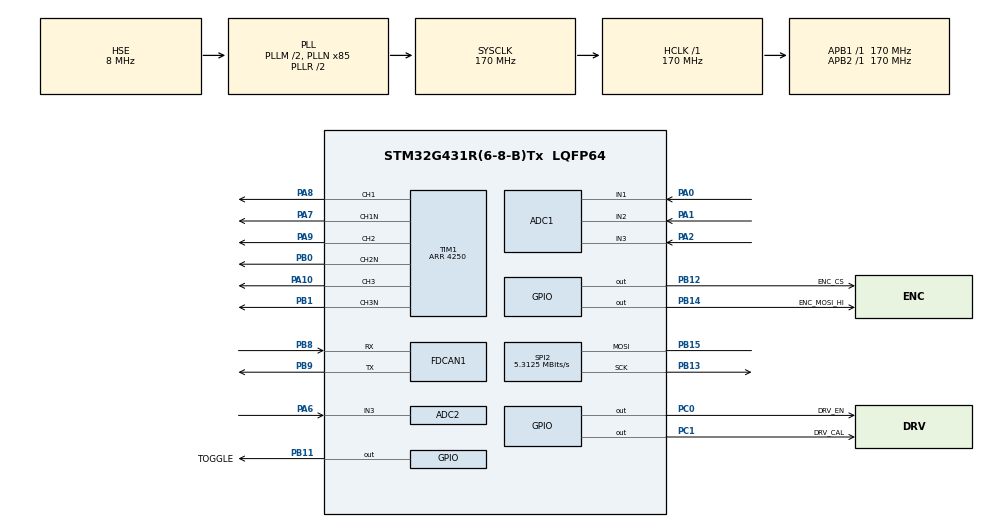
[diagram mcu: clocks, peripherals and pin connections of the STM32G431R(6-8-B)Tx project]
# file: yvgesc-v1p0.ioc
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ADC1.Channel-0\#ChannelRegularConversion=ADC_CHANNEL_VREFINT
ADC1.ClockPrescaler=ADC_CLOCK_SYNC_PCLK_DIV4
ADC1.EOCSelection=ADC_EOC_SEQ_CONV
ADC1.EnableInjectedConversion=ENABLE
ADC1.ExternalTrigInjecConv=ADC_EXTERNALTRIGINJEC_T1_TRGO2
ADC1.ExternalTrigInjecConvEdge=ADC_EXTERNALTRIGINJECCONV_EDGE_FALLING
ADC1.InjNumberOfConversion=3
ADC1.InjectedChannel-10\#ChannelInjectedConversion=ADC_CHANNEL_3
ADC1.InjectedChannel-8\#ChannelInjectedConversion=ADC_CHANNEL_1
ADC1.InjectedChannel-9\#ChannelInjectedConversion=ADC_CHANNEL_2
ADC1.InjectedOffsetNumber-10\#ChannelInjectedConversion=ADC_OFFSET_NONE
ADC1.InjectedOffsetNumber-8\#ChannelInjectedConversion=ADC_OFFSET_NONE
ADC1.InjectedOffsetNumber-9\#ChannelInjectedConversion=ADC_OFFSET_NONE
ADC1.InjectedRank-10\#ChannelInjectedConversion=3
ADC1.InjectedRank-8\#ChannelInjectedConversion=1
ADC1.InjectedRank-9\#ChannelInjectedConversion=2
ADC1.InjectedSamplingTime-10\#ChannelInjectedConversion=ADC_SAMPLETIME_24CYCLES_5
ADC1.InjectedSamplingTime-8\#ChannelInjectedConversion=ADC_SAMPLETIME_24CYCLES_5
ADC1.InjectedSamplingTime-9\#ChannelInjectedConversion=ADC_SAMPLETIME_24CYCLES_5
ADC1.NbrOfConversion=1
ADC1.NbrOfConversionFlag=1
ADC1.OffsetNumber-0\#ChannelRegularConversion=ADC_OFFSET_NONE
ADC1.Overrun=ADC_OVR_DATA_OVERWRITTEN
ADC1.Rank-0\#ChannelRegularConversion=1
ADC1.Rank1_Channel=ADC_CHANNEL_1
ADC1.Rank2_Channel=ADC_CHANNEL_2
ADC1.Rank3_Channel=ADC_CHANNEL_3
ADC1.Rank4_Channel=ADC_CHANNEL_VREFINT
ADC1.SamplingTime-0\#ChannelRegularConversion=ADC_SAMPLETIME_247CYCLES_5
ADC1.master=1
ADC2.Channel-0\#ChannelRegularConversion=ADC_CHANNEL_3
ADC2.ClockPrescaler=ADC_CLOCK_SYNC_PCLK_DIV4
ADC2.NbrOfConversionFlag=1
ADC2.OffsetNumber-0\#ChannelRegularConversion=ADC_OFFSET_NONE
ADC2.Overrun=ADC_OVR_DATA_OVERWRITTEN
ADC2.Rank-0\#ChannelRegularConversion=1
ADC2.SamplingTime-0\#ChannelRegularConversion=ADC_SAMPLETIME_247CYCLES_5
FDCAN1.AutoRetransmission=ENABLE
FDCAN1.CalculateBaudRateNominal=500000
FDCAN1.CalculateTimeBitNominal=2000
FDCAN1.CalculateTimeQuantumNominal=125.0
FDCAN1.Mode=FDCAN_MODE_INTERNAL_LOOPBACK
FDCAN1.NominalPrescaler=1
FDCAN1.NominalSyncJumpWidth=2
FDCAN1.NominalTimeSeg1=13
FDCAN1.NominalTimeSeg2=2
FDCAN1.StdFiltersNbr=1
Mcu.Family=STM32G4
Mcu.Name=STM32G431R(6-8-B)Tx
Mcu.Package=LQFP64
NVIC.ADC1_2_IRQn=true\:0\:0\:false\:false\:true\:true\:true\:true
NVIC.PriorityGroup=NVIC_PRIORITYGROUP_4
PA0.Mode=IN1-Single-Ended
PA0.Signal=ADC1_IN1
PA1.Mode=IN2-Single-Ended
PA1.Signal=ADC1_IN2
PA10.Signal=S_TIM1_CH3
PA13.Mode=Serial_Wire
PA13.Signal=SYS_JTMS-SWDIO
PA14.Mode=Serial_Wire
PA14.Signal=SYS_JTCK-SWCLK
PA2.Mode=IN3-Single-Ended
PA2.Signal=ADC1_IN3
PA6.Mode=IN3-Single-Ended
PA6.Signal=ADC2_IN3
PA7.Mode=PWM Generation1 CH1 CH1N
PA7.Signal=TIM1_CH1N
PA8.Signal=S_TIM1_CH1
PA9.Signal=S_TIM1_CH2
PB0.Mode=PWM Generation2 CH2 CH2N
PB0.Signal=TIM1_CH2N
PB1.Mode=PWM Generation3 CH3 CH3N
PB1.Signal=TIM1_CH3N
PB11.GPIO_Label=TOGGLE
PB11.Signal=GPIO_Output
PB12.GPIO_Label=ENC_CS
PB12.PinState=GPIO_PIN_SET
PB12.Signal=GPIO_Output
PB13.Mode=Simplex_Bidirectional_Master
PB13.Signal=SPI2_SCK
PB14.GPIO_Label=ENC_MOSI_HI
PB14.PinState=GPIO_PIN_SET
PB14.Signal=GPIO_Output
PB15.Mode=Simplex_Bidirectional_Master
PB15.Signal=SPI2_MOSI
PB8-BOOT0.Mode=FDCAN_Activate
PB8-BOOT0.Signal=FDCAN1_RX
PB9.Mode=FDCAN_Activate
PB9.Signal=FDCAN1_TX
PC0.GPIO_Label=DRV_EN
PC0.Signal=GPIO_Output
PC1.GPIO_Label=DRV_CAL
PC1.Signal=GPIO_Output
PF0-OSC_IN.Mode=HSE-External-Oscillator
PF0-OSC_IN.Signal=RCC_OSC_IN
PF1-OSC_OUT.Mode=HSE-External-Oscillator
PF1-OSC_OUT.Signal=RCC_OSC_OUT
ProjectManager.HeapSize=0x200
ProjectManager.StackSize=0x400
ProjectManager.TargetToolchain=CMake
RCC.ADC12Freq_Value=170000000
RCC.AHBFreq_Value=170000000
RCC.APB1Freq_Value=170000000
RCC.APB1TimFreq_Value=170000000
RCC.APB2Freq_Value=170000000
RCC.APB2TimFreq_Value=170000000
RCC.CortexFreq_Value=170000000
RCC.EXTERNAL_CLOCK_VALUE=12288000
RCC.FDCANCLockSelection=RCC_FDCANCLKSOURCE_HSE
RCC.HCLKFreq_Value=170000000
RCC.HSE_VALUE=8000000
RCC.HSI48_VALUE=48000000
RCC.HSI_VALUE=16000000
RCC.LSE_VALUE=32768
RCC.PLLM=RCC_PLLM_DIV2
RCC.PLLN=85
RCC.PLLSourceVirtual=RCC_PLLSOURCE_HSE
RCC.SYSCLKFreq_VALUE=170000000
RCC.SYSCLKSource=RCC_SYSCLKSOURCE_PLLCLK
RCC.USBFreq_Value=170000000
RCC.VCOOutputFreq_Value=340000000
SH.S_TIM1_CH1.0=TIM1_CH1,PWM Generation1 CH1 CH1N
SH.S_TIM1_CH2.0=TIM1_CH2,PWM Generation2 CH2 CH2N
SH.S_TIM1_CH3.0=TIM1_CH3,PWM Generation3 CH3 CH3N
SPI2.BaudRatePrescaler=SPI_BAUDRATEPRESCALER_32
SPI2.CLKPhase=SPI_PHASE_2EDGE
SPI2.CalculateBaudRate=5.3125 MBits/s
SPI2.DataSize=SPI_DATASIZE_16BIT
SPI2.Direction=SPI_DIRECTION_1LINE
SPI2.Mode=SPI_MODE_MASTER
SPI2.VirtualType=VM_MASTER
TIM1.AutoReloadPreload=TIM_AUTORELOAD_PRELOAD_ENABLE
TIM1.Channel-PWM\ Generation1\ CH1\ CH1N=TIM_CHANNEL_1
TIM1.Channel-PWM\ Generation2\ CH2\ CH2N=TIM_CHANNEL_2
TIM1.Channel-PWM\ Generation3\ CH3\ CH3N=TIM_CHANNEL_3
TIM1.Channel-PWM\ Generation4\ No\ Output=TIM_CHANNEL_4
TIM1.CounterMode=TIM_COUNTERMODE_CENTERALIGNED1
TIM1.DeadTime=21
TIM1.OffStateIDLEMode=TIM_OSSI_ENABLE
TIM1.OffStateRunMode=TIM_OSSR_ENABLE
TIM1.PeriodNoDither=4250
TIM1.PulseNoDither_4=4249
TIM1.TIM_MasterOutputTrigger2=TIM_TRGO2_OC4REF
VP_ADC1_Vref_Input.Mode=IN-Vrefint
VP_SYS_VS_DBSignals.Mode=DisableDeadBatterySignals
VP_TIM1_VS_ClockSourceINT.Mode=Internal
VP_TIM1_VS_no_output4.Mode=PWM Generation4 No Output
board=custom

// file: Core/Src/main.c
/* USER CODE BEGIN Header */
/**
  ******************************************************************************
  * @file           : main.c
  * @brief          : Main program body
  ******************************************************************************
  * @attention
  *
  * Copyright (c) 2026 STMicroelectronics.
  * All rights reserved.
  *
  * This software is licensed under terms that can be found in the LICENSE file
  * in the root directory of this software component.
  * If no LICENSE file comes with this software, it is provided AS-IS.
  *
  ******************************************************************************
  */
/* USER CODE END Header */
#include "main.h"

/* USER CODE BEGIN Includes */

#include <math.h>

/* USER CODE END Includes */

ADC_HandleTypeDef hadc1;
ADC_HandleTypeDef hadc2;

FDCAN_HandleTypeDef hfdcan1;

SPI_HandleTypeDef hspi2;

TIM_HandleTypeDef htim1;

/* USER CODE BEGIN PV */

volatile uint32_t rst = 0; //reset cue
volatile uint32_t pwm_ms = 5000;  //pwm timeout

volatile float pole_pairs = 20.0f; // pole pairs

volatile uint32_t pwm_run = 0;

volatile uint32_t ol_mode = 0;    /* 1 = open-loop */
volatile float ol_amp  = 0.0f;    /* vector amplitude (0.4 A per count) */
volatile float ol_deg  = 0.0f;    /* electrical angle, degrees */
volatile float ol_rate = 0.0f;    /* degrees added per loop (~1 ms) */
volatile float ol_v = 0.0f;        /* vector amplitude in volts; ~0.1 V ≈ 1 A */

//encoder
volatile uint16_t raw, ang, amin = 0xFFFF, amax = 0;
volatile uint32_t par_err = 0, ef_cnt = 0, reads = 0;
volatile uint32_t drv_on = 1;   /* 1 = DRV awake, 0 = asleep */

//adc
volatile uint32_t nf_adc;
volatile uint32_t adc_st;
volatile uint32_t vref_adc, vref_st, vdda_mv;

//sense outputs
volatile uint16_t so[3], so_min[3] = {4095,4095,4095}, so_max[3] = {0,0,0};
volatile uint16_t vr_min = 4095, vr_max = 0;
volatile uint32_t cal_on = 0;      /* 1 = DRV_CAL on */

//CAN
FDCAN_TxHeaderTypeDef txh;
FDCAN_RxHeaderTypeDef rxh;
uint8_t txd[8], rxd[8];
volatile uint32_t can_tx = 0, can_rx = 0, can_txerr = 0, can_rxid = 0;
volatile uint32_t can_tec = 0, can_rec = 0, can_busoff = 0;

//PWM
volatile uint32_t pwm_on = 0;              /* 1 = enable */
volatile uint32_t duty[3] = {0, 0, 0};     /* percent A,B,C */

//encoder alignment
volatile int32_t  off[3] = {2048, 2048, 2048};   /* zero-current offsets, counts */
volatile float    ia, ib, ic, isum;              /* phase currents, amps */
volatile uint32_t isr_cnt = 0, cal_req = 1;      /* cal_req = 1: measure offsets */

#define A_PER_COUNT  (3.3f / 4095.0f / (40.0f * 0.001f))   /* ~0.0201 A/count */

volatile float    e_deg;            /* electrical angle from encoder, degrees */
volatile float    e_off = 0.0f;     /* alignment offset, degrees */
volatile uint32_t align_req = 0;    /* set to 1 during a hold at ol_deg = 0 */

//foc
volatile uint32_t foc_mode = 0;          /* 1 = current loop drives the PWM */
volatile float id_ref = 0.0f, iq_ref = 0.0f;   /* commanded currents, A */
volatile float id, iq, vd, vq;           /* measured currents, output voltages */
volatile float kp = 0.3f;                /* V/A   (L × ωc, ωc = 2π·1 kHz) */
volatile float ki_ts = 0.03f;            /* V/A per sample (R × ωc × Ts) */
volatile float i_max = 2.0f;             /* command limit, A */
volatile float i_trip = 8.0f;            /* instant shutdown, A */
volatile uint32_t foc_fault = 0, isr_cycles = 0;
#define VBUS 12.0f

volatile float e_err;

//FLASH

#define CAL_ADDR  0x0801F800UL        /* last 2 KB page */
#define CAL_PAGE  63
#define CAL_MAGIC 0xCA1B0001UL
typedef struct __attribute__((aligned(8))) {
    uint32_t magic, ver;
    float    e_off, pole_pairs;
    uint32_t sum, pad;
} cal_t;
volatile uint32_t save_req = 0, cal_ok = 0;
volatile int32_t  save_res = 0;

volatile uint32_t vel_mode = 0;      /* 1 = velocity loop sets iq */
volatile float vel_ref  = 0.0f;      /* commanded speed, rad/s (mechanical) */
volatile float vel      = 0.0f;      /* estimated speed, rad/s */
volatile float rpm      = 0.0f;      /* same, in RPM, for viewing */
volatile float pos      = 0.0f;      /* multi-turn position, rad */
volatile float vel_kp   = 0.05f;     /* A per (rad/s) */
volatile float vel_ki   = 0.5f;      /* A per rad */
volatile float pll_bw   = 1000.0f;   /* speed estimator bandwidth, rad/s */
volatile float vel_trip = 150.0f;    /* overspeed shutdown, rad/s (~1430 RPM) */
volatile float iq_cmd   = 0.0f;      /* iq actually used by the current loop */

/* USER CODE END PV */

void SystemClock_Config(void);
static void MX_GPIO_Init(void);
static void MX_SPI2_Init(void);
static void MX_ADC2_Init(void);
static void MX_ADC1_Init(void);
static void MX_FDCAN1_Init(void);
static void MX_TIM1_Init(void);

/* USER CODE BEGIN 0 */

static uint32_t cal_sum(const cal_t *c) {
    const uint32_t *p = (const uint32_t *)c;
    return p[0] + p[1] + p[2] + p[3] + 0x5A5A5A5AUL;
}
static int cal_load(void) {
    const cal_t *c = (const cal_t *)CAL_ADDR;
    if (c->magic != CAL_MAGIC || c->sum != cal_sum(c)) return 0;
    e_off = c->e_off;  pole_pairs = c->pole_pairs;
    return 1;
}
static int32_t cal_save(void) {
    if (pwm_run) return -1;                    /* never while driving */
    cal_t c = { CAL_MAGIC, 1, e_off, pole_pairs, 0, 0 };
    c.sum = cal_sum(&c);
    HAL_FLASH_Unlock();
    __HAL_FLASH_CLEAR_FLAG(FLASH_FLAG_ALL_ERRORS);
    FLASH_EraseInitTypeDef er = { .TypeErase = FLASH_TYPEERASE_PAGES,
                                  .Banks = FLASH_BANK_1, .Page = CAL_PAGE, .NbPages = 1 };
    uint32_t perr;
    if (HAL_FLASHEx_Erase(&er, &perr) != HAL_OK) { HAL_FLASH_Lock(); return -2; }
    const uint64_t *d = (const uint64_t *)&c;
    for (uint32_t i = 0; i < sizeof(c) / 8; i++)
        if (HAL_FLASH_Program(FLASH_TYPEPROGRAM_DOUBLEWORD, CAL_ADDR + 8 * i, d[i]) != HAL_OK)
            { HAL_FLASH_Lock(); return -3; }
    HAL_FLASH_Lock();
    return cal_load() ? 0 : -4;                /* read back to verify */
}

static uint16_t enc_frame(void)
{
    uint16_t rx = 0;
    HAL_GPIO_WritePin(ENC_CS_GPIO_Port, ENC_CS_Pin, GPIO_PIN_RESET);
    HAL_SPI_Receive(&hspi2, (uint8_t *)&rx, 1, 10);   /* receive only, never transmit */
    HAL_GPIO_WritePin(ENC_CS_GPIO_Port, ENC_CS_Pin, GPIO_PIN_SET);
    return rx;
}

/* USER CODE END 0 */

int main(void)
{

  /* MCU Configuration--------------------------------------------------------*/

  /* Reset of all peripherals, Initializes the Flash interface and the Systick. */
  HAL_Init();

  /* Configure the system clock */
  SystemClock_Config();

  /* Initialize all configured peripherals */
  MX_GPIO_Init();
  MX_SPI2_Init();
  MX_ADC2_Init();
  MX_ADC1_Init();
  MX_FDCAN1_Init();
  MX_TIM1_Init();
  /* USER CODE BEGIN 2 */

  CoreDebug->DEMCR |= CoreDebug_DEMCR_TRCENA_Msk;
  DWT->CYCCNT = 0;
  DWT->CTRL |= DWT_CTRL_CYCCNTENA_Msk;

  HAL_Delay(10);                                              /* settle */
  HAL_ADCEx_Calibration_Start(&hadc2, ADC_SINGLE_ENDED);
  HAL_ADCEx_Calibration_Start(&hadc1, ADC_SINGLE_ENDED);

  HAL_FDCAN_ConfigGlobalFilter(&hfdcan1, FDCAN_ACCEPT_IN_RX_FIFO0,
                               FDCAN_REJECT, FDCAN_FILTER_REMOTE, FDCAN_FILTER_REMOTE);
  HAL_FDCAN_Start(&hfdcan1);

  txh.Identifier          = 0x123;
  txh.IdType              = FDCAN_STANDARD_ID;
  txh.TxFrameType         = FDCAN_DATA_FRAME;
  txh.DataLength          = FDCAN_DLC_BYTES_8;
  txh.ErrorStateIndicator = FDCAN_ESI_ACTIVE;
  txh.BitRateSwitch       = FDCAN_BRS_OFF;
  txh.FDFormat            = FDCAN_CLASSIC_CAN;
  txh.TxEventFifoControl  = FDCAN_NO_TX_EVENTS;
  txh.MessageMarker       = 0;

  __HAL_DBGMCU_FREEZE_TIM1();                /* stop TIM1 when the debugger pauses */
  HAL_TIM_PWM_Start(&htim1, TIM_CHANNEL_1);  HAL_TIMEx_PWMN_Start(&htim1, TIM_CHANNEL_1);
  HAL_TIM_PWM_Start(&htim1, TIM_CHANNEL_2);  HAL_TIMEx_PWMN_Start(&htim1, TIM_CHANNEL_2);
  HAL_TIM_PWM_Start(&htim1, TIM_CHANNEL_3);  HAL_TIMEx_PWMN_Start(&htim1, TIM_CHANNEL_3);
  __HAL_TIM_MOE_DISABLE_UNCONDITIONALLY(&htim1);

  HAL_TIM_PWM_Start(&htim1, TIM_CHANNEL_4);   /* internal ADC trigger, no pin */
  HAL_ADCEx_InjectedStart_IT(&hadc1);

  //HAL_GPIO_WritePin(DRV_EN_GPIO_Port, DRV_EN_Pin, GPIO_PIN_SET);
  HAL_Delay(2);

  cal_ok = cal_load();                 /* restore e_off and pole_pairs */
  foc_mode = 0; ol_mode = 1; ol_v = 0.0f;
     /* first run: measure current offsets */

  foc_fault = 0;

  /* USER CODE END 2 */

  /* Infinite loop */
  while (1)
    {

    /* USER CODE BEGIN 3 */

	  //calibration save
      if (save_req && !pwm_run) { save_res = cal_save(); save_req = 0; }

      if (rst) {
          rst = 0;
          for (int i = 0; i < 3; i++) { so_min[i] = 4095; so_max[i] = 0; }
          amin = 0xFFFF; amax = 0;
          vr_min = 4095; vr_max = 0;
      }
      /* drv8323h */
      HAL_GPIO_WritePin(DRV_EN_GPIO_Port, DRV_EN_Pin,
                        drv_on ? GPIO_PIN_SET : GPIO_PIN_RESET);
      HAL_GPIO_WritePin(DRV_CAL_GPIO_Port, DRV_CAL_Pin,
                        cal_on ? GPIO_PIN_SET : GPIO_PIN_RESET);
      HAL_ADC_Start(&hadc1);
      if (HAL_ADC_PollForConversion(&hadc1, 2) == HAL_OK) {
          vref_adc = HAL_ADC_GetValue(&hadc1);
          if (vref_adc < vr_min) vr_min = vref_adc;
          if (vref_adc > vr_max) vr_max = vref_adc;
          if (vref_adc > 0)
              vdda_mv = __HAL_ADC_CALC_VREFANALOG_VOLTAGE(vref_adc, ADC_RESOLUTION_12B);
      }
      /* PA6 nfault ADC2 */
      HAL_ADC_Start(&hadc2);
      adc_st = HAL_ADC_PollForConversion(&hadc2, 2);
      if (adc_st == HAL_OK) nf_adc = HAL_ADC_GetValue(&hadc2);

      /* AS5047P spi2 half duplex receive */
      /*
      raw = enc_frame();
      reads++;
      if (__builtin_parity(raw))      par_err++;
      else if (raw & 0x4000)          ef_cnt++;
      else {
          ang = raw & 0x3FFF;
          if (ang < amin) amin = ang;
          if (ang > amax) amax = ang;
      }
      */

      /* Encoder align */
      /*

      float mech = ang * (360.0f / 16384.0f);
      float raw_e = fmodf(mech * pole_pairs, 360.0f);
      if (align_req && pwm_run) { e_off = raw_e; align_req = 0; }
      e_deg = raw_e - e_off;
      if (e_deg < 0.0f) e_deg += 360.0f;
      */
      e_err = fmodf(e_deg - ol_deg + 540.0f, 360.0f) - 180.0f;   /* -180..+180 */

      /* FDCAN 100 ms/frame */
      static uint32_t tc = 0;
      if (HAL_GetTick() - tc >= 100) {
          tc = HAL_GetTick();
          txd[0] = (uint8_t)can_tx;            /* counter, so you can see frames change */
          if (HAL_FDCAN_AddMessageToTxFifoQ(&hfdcan1, &txh, txd) == HAL_OK) can_tx++;
          else can_txerr++;
      }
      /* read */
      while (HAL_FDCAN_GetRxFifoFillLevel(&hfdcan1, FDCAN_RX_FIFO0) > 0) {
          if (HAL_FDCAN_GetRxMessage(&hfdcan1, FDCAN_RX_FIFO0, &rxh, rxd) == HAL_OK) {
              can_rx++;
              can_rxid = rxh.Identifier;
          }
      }
      /* bus health */
      FDCAN_ErrorCountersTypeDef ec;
      FDCAN_ProtocolStatusTypeDef ps;
      HAL_FDCAN_GetErrorCounters(&hfdcan1, &ec);
      HAL_FDCAN_GetProtocolStatus(&hfdcan1, &ps);
      can_tec = ec.TxErrorCnt;  can_rec = ec.RxErrorCnt;  can_busoff = ps.BusOff;

      static uint8_t boot_cal = 0;
      if (!boot_cal && HAL_GetTick() > 1000) {     /* 1 s after reset */
          boot_cal = 1;
          foc_mode = 0; ol_mode = 1; ol_v = 0.0f;
          cal_req = 1; pwm_ms = 200; pwm_on = 1;
      }
      static uint8_t boot_ms = 0;
      if (boot_cal && !boot_ms && !pwm_run && !cal_req) {
          boot_ms = 1; pwm_ms = 2000;                /* restore normal run length */
      }

      /* PWM */

      if (pwm_ms > 10000) pwm_ms = 10000;   /*10s limit*/

      uint32_t arr = __HAL_TIM_GET_AUTORELOAD(&htim1);

      if (!foc_mode) {
      if (ol_mode) {
          if (ol_v > 0.3f) ol_v = 0.3f;                    /* hard cap: ~3 A */
          float k = arr / 12.0f;
          if (pwm_run) ol_deg += ol_rate;
          if (ol_deg >= 360.0f) ol_deg -= 360.0f;
          if (ol_deg < 0.0f)    ol_deg += 360.0f;
          float th = ol_deg * 0.0174533f;
          float b  = arr / 2.0f;
          __HAL_TIM_SET_COMPARE(&htim1, TIM_CHANNEL_1, (uint32_t)(b + ol_v * k * cosf(th)));
          __HAL_TIM_SET_COMPARE(&htim1, TIM_CHANNEL_2, (uint32_t)(b + ol_v * k * cosf(th - 2.0944f)));
          __HAL_TIM_SET_COMPARE(&htim1, TIM_CHANNEL_3, (uint32_t)(b + ol_v * k * cosf(th + 2.0944f)));
      } else {
          for (int i = 0; i < 3; i++) if (duty[i] > 100) duty[i] = 100;
          __HAL_TIM_SET_COMPARE(&htim1, TIM_CHANNEL_1, duty[0] * arr / 100);
          __HAL_TIM_SET_COMPARE(&htim1, TIM_CHANNEL_2, duty[1] * arr / 100);
          __HAL_TIM_SET_COMPARE(&htim1, TIM_CHANNEL_3, duty[2] * arr / 100);
      }
      }

      static uint32_t t_on = 0;
      if (pwm_on) { pwm_on = 0; if (!foc_fault) { pwm_run = 1; t_on = HAL_GetTick(); } }  /* request a run */
      if (pwm_run && (HAL_GetTick() - t_on >= pwm_ms)) pwm_run = 0;     /* time's up */

      if (drv_on && pwm_run) __HAL_TIM_MOE_ENABLE(&htim1);
      else                   __HAL_TIM_MOE_DISABLE_UNCONDITIONALLY(&htim1);

      /* PB11 blink */
      static uint32_t t = 0;
      if (HAL_GetTick() - t >= 500) {
          t = HAL_GetTick();
          HAL_GPIO_TogglePin(TOGGLE_GPIO_Port, TOGGLE_Pin);
      }

      HAL_Delay(1);
    }
  /* USER CODE END 3 */
}

void SystemClock_Config(void)
{
  RCC_OscInitTypeDef RCC_OscInitStruct = {0};
  RCC_ClkInitTypeDef RCC_ClkInitStruct = {0};

  /** Configure the main internal regulator output voltage
  */
  HAL_PWREx_ControlVoltageScaling(PWR_REGULATOR_VOLTAGE_SCALE1_BOOST);

  /** Initializes the RCC Oscillators according to the specified parameters
  * in the RCC_OscInitTypeDef structure.
  */
  RCC_OscInitStruct.OscillatorType = RCC_OSCILLATORTYPE_HSE;
  RCC_OscInitStruct.HSEState = RCC_HSE_ON;
  RCC_OscInitStruct.PLL.PLLState = RCC_PLL_ON;
  RCC_OscInitStruct.PLL.PLLSource = RCC_PLLSOURCE_HSE;
  RCC_OscInitStruct.PLL.PLLM = RCC_PLLM_DIV2;
  RCC_OscInitStruct.PLL.PLLN = 85;
  RCC_OscInitStruct.PLL.PLLP = RCC_PLLP_DIV2;
  RCC_OscInitStruct.PLL.PLLQ = RCC_PLLQ_DIV2;
  RCC_OscInitStruct.PLL.PLLR = RCC_PLLR_DIV2;
  if (HAL_RCC_OscConfig(&RCC_OscInitStruct) != HAL_OK)
  {
    Error_Handler();
  }

  /** Initializes the CPU, AHB and APB buses clocks
  */
  RCC_ClkInitStruct.ClockType = RCC_CLOCKTYPE_HCLK|RCC_CLOCKTYPE_SYSCLK
                              |RCC_CLOCKTYPE_PCLK1|RCC_CLOCKTYPE_PCLK2;
  RCC_ClkInitStruct.SYSCLKSource = RCC_SYSCLKSOURCE_PLLCLK;
  RCC_ClkInitStruct.AHBCLKDivider = RCC_SYSCLK_DIV1;
  RCC_ClkInitStruct.APB1CLKDivider = RCC_HCLK_DIV1;
  RCC_ClkInitStruct.APB2CLKDivider = RCC_HCLK_DIV1;

  if (HAL_RCC_ClockConfig(&RCC_ClkInitStruct, FLASH_LATENCY_4) != HAL_OK)
  {
    Error_Handler();
  }
}

static void MX_ADC1_Init(void)
{

  ADC_MultiModeTypeDef multimode = {0};
  ADC_ChannelConfTypeDef sConfig = {0};
  ADC_InjectionConfTypeDef sConfigInjected = {0};

  /** Common config
  */
  hadc1.Instance = ADC1;
  hadc1.Init.ClockPrescaler = ADC_CLOCK_SYNC_PCLK_DIV4;
  hadc1.Init.Resolution = ADC_RESOLUTION_12B;
  hadc1.Init.DataAlign = ADC_DATAALIGN_RIGHT;
  hadc1.Init.GainCompensation = 0;
  hadc1.Init.ScanConvMode = ADC_SCAN_ENABLE;
  hadc1.Init.EOCSelection = ADC_EOC_SEQ_CONV;
  hadc1.Init.LowPowerAutoWait = DISABLE;
  hadc1.Init.ContinuousConvMode = DISABLE;
  hadc1.Init.NbrOfConversion = 1;
  hadc1.Init.DiscontinuousConvMode = DISABLE;
  hadc1.Init.ExternalTrigConv = ADC_SOFTWARE_START;
  hadc1.Init.ExternalTrigConvEdge = ADC_EXTERNALTRIGCONVEDGE_NONE;
  hadc1.Init.DMAContinuousRequests = DISABLE;
  hadc1.Init.Overrun = ADC_OVR_DATA_OVERWRITTEN;
  hadc1.Init.OversamplingMode = DISABLE;
  if (HAL_ADC_Init(&hadc1) != HAL_OK)
  {
    Error_Handler();
  }

  /** Configure the ADC multi-mode
  */
  multimode.Mode = ADC_MODE_INDEPENDENT;
  if (HAL_ADCEx_MultiModeConfigChannel(&hadc1, &multimode) != HAL_OK)
  {
    Error_Handler();
  }

  /** Configure Regular Channel
  */
  sConfig.Channel = ADC_CHANNEL_VREFINT;
  sConfig.Rank = ADC_REGULAR_RANK_1;
  sConfig.SamplingTime = ADC_SAMPLETIME_247CYCLES_5;
  sConfig.SingleDiff = ADC_SINGLE_ENDED;
  sConfig.OffsetNumber = ADC_OFFSET_NONE;
  sConfig.Offset = 0;
  if (HAL_ADC_ConfigChannel(&hadc1, &sConfig) != HAL_OK)
  {
    Error_Handler();
  }

  /** Configure Injected Channel
  */
  sConfigInjected.InjectedChannel = ADC_CHANNEL_1;
  sConfigInjected.InjectedRank = ADC_INJECTED_RANK_1;
  sConfigInjected.InjectedSamplingTime = ADC_SAMPLETIME_24CYCLES_5;
  sConfigInjected.InjectedSingleDiff = ADC_SINGLE_ENDED;
  sConfigInjected.InjectedOffsetNumber = ADC_OFFSET_NONE;
  sConfigInjected.InjectedOffset = 0;
  sConfigInjected.InjectedNbrOfConversion = 3;
  sConfigInjected.InjectedDiscontinuousConvMode = DISABLE;
  sConfigInjected.AutoInjectedConv = DISABLE;
  sConfigInjected.QueueInjectedContext = DISABLE;
  sConfigInjected.ExternalTrigInjecConv = ADC_EXTERNALTRIGINJEC_T1_TRGO2;
  sConfigInjected.ExternalTrigInjecConvEdge = ADC_EXTERNALTRIGINJECCONV_EDGE_FALLING;
  sConfigInjected.InjecOversamplingMode = DISABLE;
  if (HAL_ADCEx_InjectedConfigChannel(&hadc1, &sConfigInjected) != HAL_OK)
  {
    Error_Handler();
  }

  /** Configure Injected Channel
  */
  sConfigInjected.InjectedChannel = ADC_CHANNEL_2;
  sConfigInjected.InjectedRank = ADC_INJECTED_RANK_2;
  if (HAL_ADCEx_InjectedConfigChannel(&hadc1, &sConfigInjected) != HAL_OK)
  {
    Error_Handler();
  }

  /** Configure Injected Channel
  */
  sConfigInjected.InjectedChannel = ADC_CHANNEL_3;
  sConfigInjected.InjectedRank = ADC_INJECTED_RANK_3;
  if (HAL_ADCEx_InjectedConfigChannel(&hadc1, &sConfigInjected) != HAL_OK)
  {
    Error_Handler();
  }

}

static void MX_ADC2_Init(void)
{

  ADC_ChannelConfTypeDef sConfig = {0};

  /** Common config
  */
  hadc2.Instance = ADC2;
  hadc2.Init.ClockPrescaler = ADC_CLOCK_SYNC_PCLK_DIV4;
  hadc2.Init.Resolution = ADC_RESOLUTION_12B;
  hadc2.Init.DataAlign = ADC_DATAALIGN_RIGHT;
  hadc2.Init.GainCompensation = 0;
  hadc2.Init.ScanConvMode = ADC_SCAN_DISABLE;
  hadc2.Init.EOCSelection = ADC_EOC_SINGLE_CONV;
  hadc2.Init.LowPowerAutoWait = DISABLE;
  hadc2.Init.ContinuousConvMode = DISABLE;
  hadc2.Init.NbrOfConversion = 1;
  hadc2.Init.DiscontinuousConvMode = DISABLE;
  hadc2.Init.ExternalTrigConv = ADC_SOFTWARE_START;
  hadc2.Init.ExternalTrigConvEdge = ADC_EXTERNALTRIGCONVEDGE_NONE;
  hadc2.Init.DMAContinuousRequests = DISABLE;
  hadc2.Init.Overrun = ADC_OVR_DATA_OVERWRITTEN;
  hadc2.Init.OversamplingMode = DISABLE;
  if (HAL_ADC_Init(&hadc2) != HAL_OK)
  {
    Error_Handler();
  }

  /** Configure Regular Channel
  */
  sConfig.Channel = ADC_CHANNEL_3;
  sConfig.Rank = ADC_REGULAR_RANK_1;
  sConfig.SamplingTime = ADC_SAMPLETIME_247CYCLES_5;
  sConfig.SingleDiff = ADC_SINGLE_ENDED;
  sConfig.OffsetNumber = ADC_OFFSET_NONE;
  sConfig.Offset = 0;
  if (HAL_ADC_ConfigChannel(&hadc2, &sConfig) != HAL_OK)
  {
    Error_Handler();
  }

}

static void MX_FDCAN1_Init(void)
{

  hfdcan1.Instance = FDCAN1;
  hfdcan1.Init.ClockDivider = FDCAN_CLOCK_DIV1;
  hfdcan1.Init.FrameFormat = FDCAN_FRAME_CLASSIC;
  hfdcan1.Init.Mode = FDCAN_MODE_INTERNAL_LOOPBACK;
  hfdcan1.Init.AutoRetransmission = ENABLE;
  hfdcan1.Init.TransmitPause = DISABLE;
  hfdcan1.Init.ProtocolException = DISABLE;
  hfdcan1.Init.NominalPrescaler = 1;
  hfdcan1.Init.NominalSyncJumpWidth = 2;
  hfdcan1.Init.NominalTimeSeg1 = 13;
  hfdcan1.Init.NominalTimeSeg2 = 2;
  hfdcan1.Init.DataPrescaler = 1;
  hfdcan1.Init.DataSyncJumpWidth = 1;
  hfdcan1.Init.DataTimeSeg1 = 1;
  hfdcan1.Init.DataTimeSeg2 = 1;
  hfdcan1.Init.StdFiltersNbr = 1;
  hfdcan1.Init.ExtFiltersNbr = 0;
  hfdcan1.Init.TxFifoQueueMode = FDCAN_TX_FIFO_OPERATION;
  if (HAL_FDCAN_Init(&hfdcan1) != HAL_OK)
  {
    Error_Handler();
  }

}

static void MX_SPI2_Init(void)
{

  /* SPI2 parameter configuration*/
  hspi2.Instance = SPI2;
  hspi2.Init.Mode = SPI_MODE_MASTER;
  hspi2.Init.Direction = SPI_DIRECTION_1LINE;
  hspi2.Init.DataSize = SPI_DATASIZE_16BIT;
  hspi2.Init.CLKPolarity = SPI_POLARITY_LOW;
  hspi2.Init.CLKPhase = SPI_PHASE_2EDGE;
  hspi2.Init.NSS = SPI_NSS_SOFT;
  hspi2.Init.BaudRatePrescaler = SPI_BAUDRATEPRESCALER_32;
  hspi2.Init.FirstBit = SPI_FIRSTBIT_MSB;
  hspi2.Init.TIMode = SPI_TIMODE_DISABLE;
  hspi2.Init.CRCCalculation = SPI_CRCCALCULATION_DISABLE;
  hspi2.Init.CRCPolynomial = 7;
  hspi2.Init.CRCLength = SPI_CRC_LENGTH_DATASIZE;
  hspi2.Init.NSSPMode = SPI_NSS_PULSE_DISABLE;
  if (HAL_SPI_Init(&hspi2) != HAL_OK)
  {
    Error_Handler();
  }

}

static void MX_TIM1_Init(void)
{

  TIM_ClockConfigTypeDef sClockSourceConfig = {0};
  TIM_MasterConfigTypeDef sMasterConfig = {0};
  TIM_OC_InitTypeDef sConfigOC = {0};
  TIM_BreakDeadTimeConfigTypeDef sBreakDeadTimeConfig = {0};

  htim1.Instance = TIM1;
  htim1.Init.Prescaler = 0;
  htim1.Init.CounterMode = TIM_COUNTERMODE_CENTERALIGNED1;
  htim1.Init.Period = 4250;
  htim1.Init.ClockDivision = TIM_CLOCKDIVISION_DIV1;
  htim1.Init.RepetitionCounter = 0;
  htim1.Init.AutoReloadPreload = TIM_AUTORELOAD_PRELOAD_ENABLE;
  if (HAL_TIM_Base_Init(&htim1) != HAL_OK)
  {
    Error_Handler();
  }
  sClockSourceConfig.ClockSource = TIM_CLOCKSOURCE_INTERNAL;
  if (HAL_TIM_ConfigClockSource(&htim1, &sClockSourceConfig) != HAL_OK)
  {
    Error_Handler();
  }
  if (HAL_TIM_PWM_Init(&htim1) != HAL_OK)
  {
    Error_Handler();
  }
  sMasterConfig.MasterOutputTrigger = TIM_TRGO_RESET;
  sMasterConfig.MasterOutputTrigger2 = TIM_TRGO2_OC4REF;
  sMasterConfig.MasterSlaveMode = TIM_MASTERSLAVEMODE_DISABLE;
  if (HAL_TIMEx_MasterConfigSynchronization(&htim1, &sMasterConfig) != HAL_OK)
  {
    Error_Handler();
  }
  sConfigOC.OCMode = TIM_OCMODE_PWM1;
  sConfigOC.Pulse = 0;
  sConfigOC.OCPolarity = TIM_OCPOLARITY_HIGH;
  sConfigOC.OCNPolarity = TIM_OCNPOLARITY_HIGH;
  sConfigOC.OCFastMode = TIM_OCFAST_DISABLE;
  sConfigOC.OCIdleState = TIM_OCIDLESTATE_RESET;
  sConfigOC.OCNIdleState = TIM_OCNIDLESTATE_RESET;
  if (HAL_TIM_PWM_ConfigChannel(&htim1, &sConfigOC, TIM_CHANNEL_1) != HAL_OK)
  {
    Error_Handler();
  }
  if (HAL_TIM_PWM_ConfigChannel(&htim1, &sConfigOC, TIM_CHANNEL_2) != HAL_OK)
  {
    Error_Handler();
  }
  if (HAL_TIM_PWM_ConfigChannel(&htim1, &sConfigOC, TIM_CHANNEL_3) != HAL_OK)
  {
    Error_Handler();
  }
  sConfigOC.Pulse = 4249;
  if (HAL_TIM_PWM_ConfigChannel(&htim1, &sConfigOC, TIM_CHANNEL_4) != HAL_OK)
  {
    Error_Handler();
  }
  sBreakDeadTimeConfig.OffStateRunMode = TIM_OSSR_ENABLE;
  sBreakDeadTimeConfig.OffStateIDLEMode = TIM_OSSI_ENABLE;
  sBreakDeadTimeConfig.LockLevel = TIM_LOCKLEVEL_OFF;
  sBreakDeadTimeConfig.DeadTime = 21;
  sBreakDeadTimeConfig.BreakState = TIM_BREAK_DISABLE;
  sBreakDeadTimeConfig.BreakPolarity = TIM_BREAKPOLARITY_HIGH;
  sBreakDeadTimeConfig.BreakFilter = 0;
  sBreakDeadTimeConfig.BreakAFMode = TIM_BREAK_AFMODE_INPUT;
  sBreakDeadTimeConfig.Break2State = TIM_BREAK2_DISABLE;
  sBreakDeadTimeConfig.Break2Polarity = TIM_BREAK2POLARITY_HIGH;
  sBreakDeadTimeConfig.Break2Filter = 0;
  sBreakDeadTimeConfig.Break2AFMode = TIM_BREAK_AFMODE_INPUT;
  sBreakDeadTimeConfig.AutomaticOutput = TIM_AUTOMATICOUTPUT_DISABLE;
  if (HAL_TIMEx_ConfigBreakDeadTime(&htim1, &sBreakDeadTimeConfig) != HAL_OK)
  {
    Error_Handler();
  }
  HAL_TIM_MspPostInit(&htim1);

}

static void MX_GPIO_Init(void)
{
  GPIO_InitTypeDef GPIO_InitStruct = {0};

  /* GPIO Ports Clock Enable */
  __HAL_RCC_GPIOF_CLK_ENABLE();
  __HAL_RCC_GPIOC_CLK_ENABLE();
  __HAL_RCC_GPIOA_CLK_ENABLE();
  __HAL_RCC_GPIOB_CLK_ENABLE();

  /*Configure GPIO pin Output Level */
  HAL_GPIO_WritePin(GPIOC, DRV_EN_Pin|DRV_CAL_Pin, GPIO_PIN_RESET);

  /*Configure GPIO pin Output Level */
  HAL_GPIO_WritePin(TOGGLE_GPIO_Port, TOGGLE_Pin, GPIO_PIN_RESET);

  /*Configure GPIO pin Output Level */
  HAL_GPIO_WritePin(GPIOB, ENC_CS_Pin|ENC_MOSI_HI_Pin, GPIO_PIN_SET);

  /*Configure GPIO pins : DRV_EN_Pin DRV_CAL_Pin */
  GPIO_InitStruct.Pin = DRV_EN_Pin|DRV_CAL_Pin;
  GPIO_InitStruct.Mode = GPIO_MODE_OUTPUT_PP;
  GPIO_InitStruct.Pull = GPIO_NOPULL;
  GPIO_InitStruct.Speed = GPIO_SPEED_FREQ_LOW;
  HAL_GPIO_Init(GPIOC, &GPIO_InitStruct);

  /*Configure GPIO pins : TOGGLE_Pin ENC_CS_Pin ENC_MOSI_HI_Pin */
  GPIO_InitStruct.Pin = TOGGLE_Pin|ENC_CS_Pin|ENC_MOSI_HI_Pin;
  GPIO_InitStruct.Mode = GPIO_MODE_OUTPUT_PP;
  GPIO_InitStruct.Pull = GPIO_NOPULL;
  GPIO_InitStruct.Speed = GPIO_SPEED_FREQ_LOW;
  HAL_GPIO_Init(GPIOB, &GPIO_InitStruct);

}

/* USER CODE BEGIN 4 */

void HAL_ADCEx_InjectedConvCpltCallback(ADC_HandleTypeDef *h)
{
    if (h->Instance != ADC1) return;
    uint32_t t0 = DWT->CYCCNT;

    /* --- currents --- */
    int32_t a = HAL_ADCEx_InjectedGetValue(h, ADC_INJECTED_RANK_1);
    int32_t b = HAL_ADCEx_InjectedGetValue(h, ADC_INJECTED_RANK_2);
    int32_t c = HAL_ADCEx_InjectedGetValue(h, ADC_INJECTED_RANK_3);
    so[0] = a; so[1] = b; so[2] = c;

    static int32_t sa, sb, sc, n;
    if (cal_req && pwm_run && ol_mode && !foc_mode && ol_v == 0.0f) {
        sa += a; sb += b; sc += c;
        if (++n == 1024) {
            off[0] = sa / 1024; off[1] = sb / 1024; off[2] = sc / 1024;
            sa = sb = sc = n = 0; cal_req = 0;
        }
    }
    ia = (a - off[0]) * A_PER_COUNT;
    ib = (b - off[1]) * A_PER_COUNT;
    ic = (c - off[2]) * A_PER_COUNT;
    isum = ia + ib + ic;

    /* --- encoder (moved here from the main loop) --- */
    raw = enc_frame();
    reads++;
    if (__builtin_parity(raw))      par_err++;
    else if (raw & 0x4000)          ef_cnt++;
    else                            ang = raw & 0x3FFF;
    float mech  = ang * (360.0f / 16384.0f);
    float raw_e = fmodf(mech * pole_pairs, 360.0f);
    if (align_req && pwm_run) { e_off = raw_e; align_req = 0; }
    e_deg = raw_e - e_off;
    if (e_deg < 0.0f) e_deg += 360.0f;

    /* --- multi-turn position + PLL speed estimate --- */
    const float TS = 50e-6f, CNT2RAD = 6.2831853f / 16384.0f;
    static int32_t last_ang = -1, pos_cnt = 0;
    static float pos_est = 0.0f, vel_est = 0.0f;
    if (last_ang < 0) { last_ang = ang; }
    int32_t dcnt = (int32_t)ang - last_ang;
    if (dcnt >  8192) dcnt -= 16384;
    if (dcnt < -8192) dcnt += 16384;
    last_ang = ang;
    pos_cnt += dcnt;
    float pos_meas = pos_cnt * CNT2RAD;

    float perr = pos_meas - pos_est;
    pos_est += TS * (vel_est + 2.0f * pll_bw * perr);
    vel_est += TS * (pll_bw * pll_bw * perr);
    pos = pos_meas;  vel = vel_est;  rpm = vel_est * 9.5493f;

    /* --- overspeed trip --- */
    if (pwm_run && fabsf(vel_est) > vel_trip) {
        __HAL_TIM_MOE_DISABLE_UNCONDITIONALLY(&htim1);
        pwm_run = 0; foc_fault = 2;
    }

    /* --- velocity loop -> iq command --- */
    static float vel_int = 0.0f;
    if (vel_mode && foc_mode && pwm_run) {
        float ve = vel_ref - vel_est;
        vel_int = fminf(fmaxf(vel_int + vel_ki * ve * TS, -i_max), i_max);
        iq_cmd  = fminf(fmaxf(vel_kp * ve + vel_int, -i_max), i_max);
    } else {
        vel_int = 0.0f;
        iq_cmd  = iq_ref;
    }

    /* --- hard overcurrent trip --- */
    if (pwm_run && drv_on && !cal_req &&
            (fabsf(ia) > i_trip || fabsf(ib) > i_trip || fabsf(ic) > i_trip)) {
        __HAL_TIM_MOE_DISABLE_UNCONDITIONALLY(&htim1);
        pwm_run = 0; foc_fault = 1;
    }

    /* --- current loop --- */
    static float id_int = 0.0f, iq_int = 0.0f;
    if (foc_mode && pwm_run) {
        float th = e_deg * 0.0174533f, s = sinf(th), co = cosf(th);

        float ial = ia;                              /* Clarke */
        float ibe = (ia + 2.0f * ib) * 0.57735f;
        id =  ial * co + ibe * s;                    /* Park */
        iq = -ial * s  + ibe * co;

        float idr = fminf(fmaxf(id_ref, -i_max), i_max);
        float iqr = fminf(fmaxf(iq_cmd, -i_max), i_max);
        float vlim = 0.9f * VBUS * 0.57735f;

        float ed = idr - id, eq = iqr - iq;          /* PI */
        id_int = fminf(fmaxf(id_int + ki_ts * ed, -vlim), vlim);
        iq_int = fminf(fmaxf(iq_int + ki_ts * eq, -vlim), vlim);
        float vdd = kp * ed + id_int, vqq = kp * eq + iq_int;
        float vm = sqrtf(vdd * vdd + vqq * vqq);
        if (vm > vlim) { vdd *= vlim / vm; vqq *= vlim / vm; }
        vd = vdd; vq = vqq;

        float val = vdd * co - vqq * s;              /* inverse Park */
        float vbe = vdd * s  + vqq * co;
        float Va = val;                              /* inverse Clarke */
        float Vb = -0.5f * val + 0.866025f * vbe;
        float Vc = -0.5f * val - 0.866025f * vbe;
        float vo = 0.5f * (fmaxf(Va, fmaxf(Vb, Vc)) + fminf(Va, fminf(Vb, Vc)));

        uint32_t arr = __HAL_TIM_GET_AUTORELOAD(&htim1);
        float k = arr / VBUS, mid = arr * 0.5f;
        __HAL_TIM_SET_COMPARE(&htim1, TIM_CHANNEL_1, (uint32_t)(mid + (Va - vo) * k));
        __HAL_TIM_SET_COMPARE(&htim1, TIM_CHANNEL_2, (uint32_t)(mid + (Vb - vo) * k));
        __HAL_TIM_SET_COMPARE(&htim1, TIM_CHANNEL_3, (uint32_t)(mid + (Vc - vo) * k));
    } else {
        id_int = iq_int = 0.0f;                      /* reset when not running */
    }

    isr_cycles = DWT->CYCCNT - t0;
    isr_cnt++;
}

/* USER CODE END 4 */

void Error_Handler(void)
{
  __disable_irq();
  while (1)
  {
  }
}
